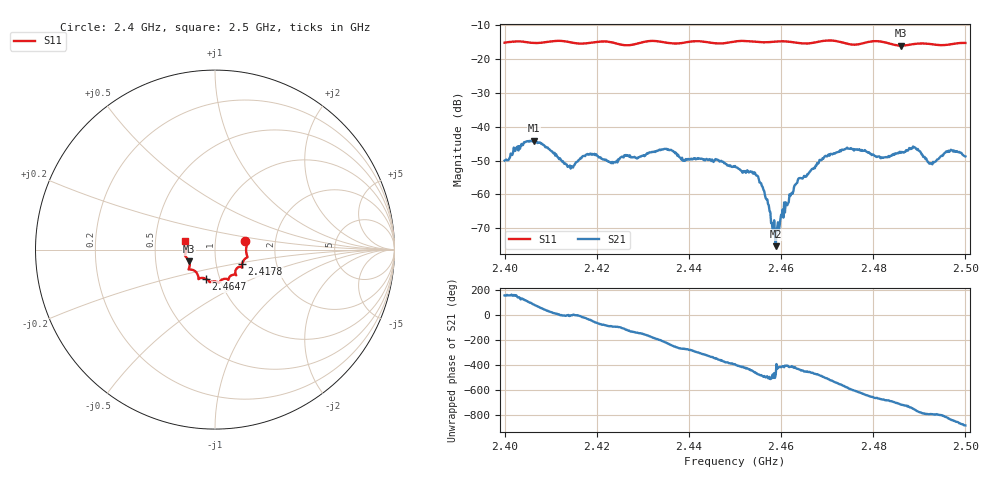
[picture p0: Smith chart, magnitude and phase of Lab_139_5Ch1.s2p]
# Hz S RI R 50
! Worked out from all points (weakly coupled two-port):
!   601 points, 2.4 GHz to 2.5 GHz, reference 50 ohm
!   highest |S21| = -44.15 dB at 2.4063 GHz (marker M1); lowest = -75.3 dB at 2.4588 GHz (marker M2)
!   lowest |S11| = -16.0 dB at 2.486 GHz (marker M3), VSWR 1.38, Z = 37.1 - j4.98 ohm
!   |S11| at or under -10 dB: start of sweep to end of sweep
!   S12 and S22 are empty: the file has one direction only
!   S11 on the Smith chart (normalised r, x): 2.4 GHz: 1.40, +0.13; 2.4178 GHz: 1.33, -0.22; 2.4647 GHz: 0.86, -0.29; 2.5 GHz: 0.71, +0.07
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2.4e9  0.1689 0.046  -0.0029 0.00124  0 0  0 0
2.406333e9  0.1733 0.00502  0.000682 0.00617  0 0  0 0
2.414167e9  0.1715 -0.0477  0.00265 -0.000371  0 0  0 0
2.416667e9  0.1552 -0.0682  0.00332 -0.000848  0 0  0 0
2.417833e9  0.1507 -0.0815  0.0034 -0.00193  0 0  0 0
2.423667e9  0.1449 -0.097  -0.0002 -0.00299  0 0  0 0
2.433333e9  0.1166 -0.1412  -0.00426 0.00122  0 0  0 0
2.45e9  0.0253 -0.1807  0.00219 -0.00144  0 0  0 0
2.454667e9  0.01 -0.1795  -0.000481 -0.00183  0 0  0 0
2.456833e9  -0.00854 -0.1773  -0.00057 -0.000618  0 0  0 0
2.458333e9  -0.0202 -0.1795  -0.000234 -0.000174  0 0  0 0
2.458833e9  -0.023 -0.1802  -8.32e-05 -0.000149  0 0  0 0
2.463333e9  -0.0382 -0.1707  0.000538 -0.00135  0 0  0 0
2.464667e9  -0.0493 -0.1635  0.000177 -0.0017  0 0  0 0
2.466667e9  -0.0711 -0.1576  -0.000547 -0.00229  0 0  0 0
2.474167e9  -0.0964 -0.14  -0.00374 0.003  0 0  0 0
2.483333e9  -0.1421 -0.0962  0.00295 0.00221  0 0  0 0
2.486e9  -0.1439 -0.0653  0.0041 0.000205  0 0  0 0
2.489167e9  -0.1634 -0.0399  0.00367 -0.00317  0 0  0 0
2.492333e9  -0.1657 -0.0253  0.000858 -0.00275  0 0  0 0
2.4965e9  -0.1628 0.022  -0.0015 -0.00397  0 0  0 0
2.5e9  -0.1669 0.0472  -0.00349 -0.001  0 0  0 0
